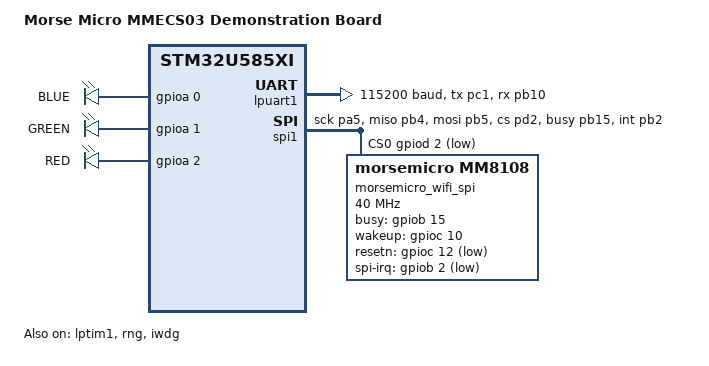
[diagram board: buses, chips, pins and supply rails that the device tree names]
/*
 * Copyright 2026 Morse Micro
 *
 * SPDX-License-Identifier: Apache-2.0
 */

/dts-v1/;
#include <st/u5/stm32u585Xi.dtsi>
#include <st/u5/stm32u585ritxq-pinctrl.dtsi>
#include <zephyr/dt-bindings/dma/stm32_dma.h>

/ {
	model = "Morse Micro MMECS03 Demonstration Board";
	compatible = "morsemicro,mmecs03";

	chosen {
		zephyr,console = &lpuart1;
		zephyr,shell-uart = &lpuart1;

		zephyr,sram = &sram0;
		zephyr,flash = &flash0;
	};

	status_leds {
		compatible = "gpio-leds";
		status_led_blue: led_b {
			gpios = <&gpioa 0 GPIO_ACTIVE_HIGH>;
			label = "BLUE";
		};
		status_led_green: led_g {
			gpios = <&gpioa 1 GPIO_ACTIVE_HIGH>;
			label = "GREEN";
		};
		status_led_red: led_r {
			gpios = <&gpioa 2 GPIO_ACTIVE_HIGH>;
			label = "RED";
		};
	};

	aliases {
		led0 = &status_led_blue;
		led1 = &status_led_green;
		led2 = &status_led_red;

		watchdog0 = &iwdg;
	};
};

/* No HSE crystal is fitted on MMECS03; SYSCLK is derived from the
 * internal MSI oscillator instead.
 */
&clk_hsi48 {
	status = "okay";
};

&clk_lse {
	status = "okay";
};

&clk_msis {
	status = "okay";
	msi-range = <0>;
};

&pll1 {
	div-m = <3>;
	mul-n = <10>;
	div-q = <2>;
	div-r = <1>;
	clocks = <&clk_msis>;
	status = "okay";
};

&rcc {
	clocks = <&pll1>;
	clock-frequency = <DT_FREQ_M(160)>;
	ahb-prescaler = <1>;
	apb1-prescaler = <1>;
	apb2-prescaler = <1>;
	apb3-prescaler = <1>;
};

&gpioa {
	status = "okay";
};

&gpiob {
	status = "okay";
};

&gpioc {
	status = "okay";
};

&gpiod {
	status = "okay";
};

stm32_lp_tick_source: &lptim1 {
	clocks = <&rcc STM32_CLOCK_BUS_APB3 0x00000800>,
		<&rcc STM32_SRC_LSE LPTIM1_SEL(3)>;
	status = "okay";
};

&lpuart1 {
	pinctrl-0 = <&lpuart1_tx_pc1 &lpuart1_rx_pb10>;
	pinctrl-names = "default";
	current-speed = <115200>;
	status = "okay";
};

/* MM8108 Wi-Fi HaLow module SPI connections */

&pinctrl {
	spi1_cs_pd2: spi1_cs_pd2 {
		pinmux = <STM32_PINMUX('D', 2, GPIO)>;
		bias-pull-down;
		drive-push-pull;
		slew-rate = "low-speed";
	};

	mm8108_busy_pb15: mm8108_busy_pb15 {
		pinmux = <STM32_PINMUX('B', 15, GPIO)>;
		bias-pull-down;
		slew-rate = "low-speed";
	};

	mm8108_int_pb2: mm8108_int_pb2 {
		pinmux = <STM32_PINMUX('B', 2, GPIO)>;
		bias-pull-up;
		slew-rate = "low-speed";
	};
};

&spi1_sck_pa5 {
	drive-push-pull;
	bias-pull-down;
	slew-rate = "very-high-speed";
};

&spi1_miso_pb4 {
	drive-push-pull;
	bias-pull-down;
	slew-rate = "very-high-speed";
};

&spi1_mosi_pb5 {
	drive-push-pull;
	bias-pull-down;
	slew-rate = "very-high-speed";
};

&spi1 {
	status = "okay";
	pinctrl-0 = <&spi1_sck_pa5 &spi1_miso_pb4 &spi1_mosi_pb5 &spi1_cs_pd2
		     &mm8108_busy_pb15 &mm8108_int_pb2>;
	pinctrl-names = "default";
	cs-gpios = <&gpiod 2 GPIO_ACTIVE_LOW>;

	//         channel slot channel-config (st,stm32-dma_v2.yaml)
	dmas = <&gpdma1 15 7 (STM32_DMA_PERIPH_TX | STM32_DMA_PRIORITY_VERY_HIGH)>,
	       <&gpdma1 14 6 (STM32_DMA_PERIPH_RX | STM32_DMA_PRIORITY_VERY_HIGH)>;
	dma-names = "tx", "rx";

	morsemicro_wifi_spi: morsemicro@0 {
		status = "okay";
		compatible = "morsemicro,mm8108";
		spi-max-frequency = <40000000>;
		reg = <0>;

		bcf = "bcf_mf15457.mbin";
		busy-gpios = <&gpiob 15 GPIO_ACTIVE_HIGH>;
		wakeup-gpios = <&gpioc 10 GPIO_ACTIVE_HIGH>;
		resetn-gpios = <&gpioc 12 GPIO_ACTIVE_LOW>;
		spi-irq-gpios = <&gpiob 2 GPIO_ACTIVE_LOW>;
	};
};

&rng {
	status = "okay";
};

&iwdg {
	status = "okay";
};

&gpdma1 {
	status = "okay";
};

&flash0 {
	partitions {
		compatible = "fixed-partitions";
		#address-cells = <1>;
		#size-cells = <1>;

		storage_partition: partition@180000 {
			label = "storage";
			reg = <0x180000 0x00008000>;
		};
	};
};
